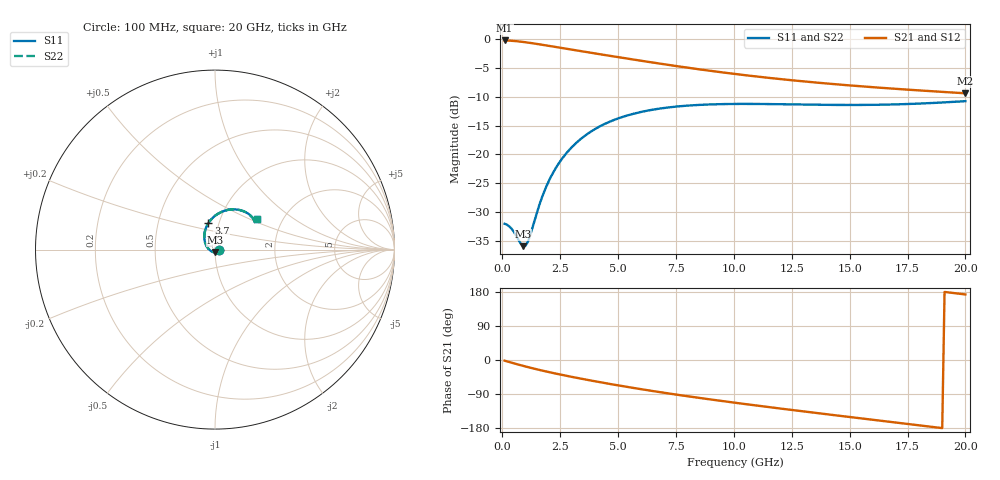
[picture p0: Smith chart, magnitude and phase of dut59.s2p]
! Touchstone file exported from HFSS 2024.1.0
!  File:  C:/UserFiles/LocalFiles/RDL_TSV_Batchsim/temp_RDL_TSV_59_1779408739.aedt
!  Generated:  08:30:10 AM May 22, 2026
!  Design:  RDL_TSV
!  Project:  temp_RDL_TSV_59_1779408739
!  Setup:  Setup1
!  Solution:  Sweep
! Variables:
!  dtsv = 12.96um
!  hbump = 3um
!  htsv = 92.33um
!  ldown = 439.24um
!  lrdl = 195.58um
!  p = 40
!  p1 = 44.68um
!  rhole = 10um
!  subl = 2100.04um
!  t = 450um
!  tdown = 2.32um
!  trdl = 2.09um
!  viad = 10um
!  wdown = 12.43um
!  wrdl = 14.1um
!  xbump = 18um
# GHz S MA R 50.000000
! Terminal data exported
! Port[1] = TM1_1_T1
! Port[2] = TM1_4_T1
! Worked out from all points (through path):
!   200 points, 100 MHz to 20 GHz, reference 50 ohm
!   highest |S21| = -0.23 dB at 100 MHz (marker M1); lowest = -9.4 dB at 20 GHz (marker M2)
!   group delay of S21, straight-line fit = 24.3 ps
!   lowest |S11| = -35.9 dB at 900 MHz (marker M3), VSWR 1.03, Z = 49.9 - j1.6 ohm
!   |S11| at or under -10 dB: start of sweep to end of sweep
!   |S22| runs from -35.9 to -10.8 dB; largest |S21 - S12| = 9.2e-15
!   S11 on the Smith chart (normalised r, x): 100 MHz: 1.05, -0.01; 3.7 GHz: 0.89, +0.27; 20 GHz: 1.49, +0.56
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0.1  0.02508 -6.4  0.9743 -1.8  0.9743 -1.8  0.02508 -6.4
! Gamma 0 0 0 0
! Port Impedance 50 0 50 0
0.4  0.02268 -28.1  0.968 -7.1  0.968 -7.1  0.02269 -28.1
0.9  0.01602 -91.2  0.9459 -15.5  0.9459 -15.5  0.01603 -91.1
1  0.01614 -110.1  0.9403 -17.1  0.9403 -17.1  0.01615 -110.0
1.1  0.01741 -128.7  0.9344 -18.7  0.9344 -18.7  0.01741 -128.6
1.7  0.04171 166.6  0.8955 -27.6  0.8955 -27.6  0.04167 166.7
1.9  0.05264 155.8  0.882 -30.4  0.882 -30.4  0.05258 155.8
2.2  0.0698 143.1  0.8619 -34.4  0.8619 -34.4  0.06973 143.1
2.5  0.08721 132.9  0.8422 -38.3  0.8422 -38.3  0.08712 132.9
2.8  0.1044 124.3  0.823 -42.1  0.823 -42.1  0.1043 124.3
3.5  0.1419 108.0  0.7805 -50.4  0.7805 -50.4  0.1418 108.0
3.7  0.1518 104.1  0.7689 -52.7  0.7689 -52.7  0.1517 104.1
4.3  0.1789 93.6  0.7354 -59.4  0.7354 -59.4  0.1787 93.6
5  0.2053 83.4  0.6984 -66.9  0.6984 -66.9  0.2051 83.4
5.8  0.2289 73.6  0.6588 -75.1  0.6588 -75.1  0.2288 73.6
6.8  0.25 63.7  0.6136 -84.8  0.6136 -84.8  0.2498 63.7
8.4  0.2683 51.9  0.5512 -99.1  0.5512 -99.1  0.2682 51.9
10.1  0.2743 43.4  0.4975 -113.2  0.4975 -113.2  0.2742 43.4
11.7  0.2733 38.4  0.4573 -125.7  0.4573 -125.7  0.2733 38.3
13.4  0.2702 35.6  0.4231 -138.6  0.4231 -138.6  0.2702 35.5
16.7  0.2709 34.9  0.3743 -162.9  0.3743 -162.9  0.2708 34.7
20  0.2899 36.1  0.3393 173.0  0.3393 173.0  0.2897 35.9
